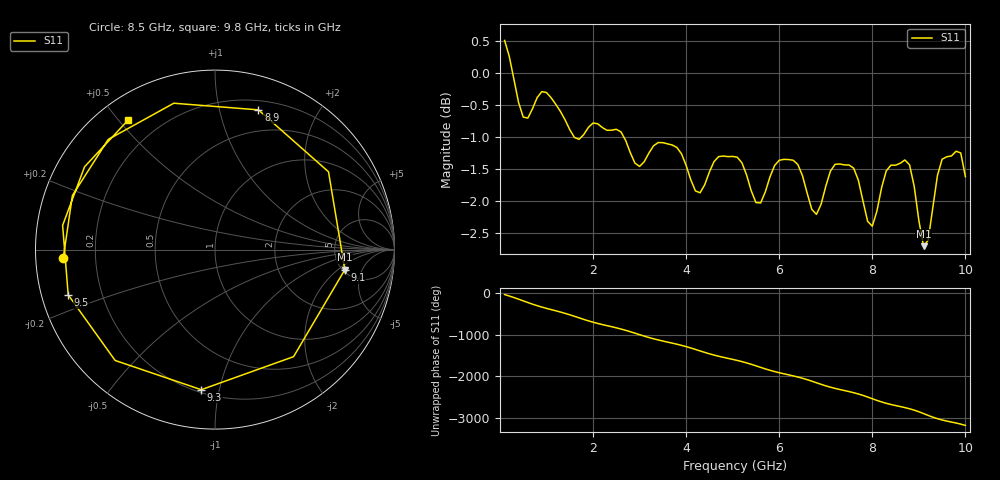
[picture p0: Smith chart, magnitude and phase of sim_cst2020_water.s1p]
! Created with skrf 1.12.0 (http://scikit-rf.org).
# Hz S RI R 50.0
!freq ReS11 ImS11
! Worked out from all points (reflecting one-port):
!   100 points, 100 MHz to 10 GHz, reference 50 ohm
!   lowest |S11| = -2.7 dB at 9.1 GHz (marker M1), VSWR 6.46, Z = 261 - j126 ohm
!   phase of S11 starts at -34 deg and turns -3140 deg over the sweep
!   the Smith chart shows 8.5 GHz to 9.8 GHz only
!   S11 on the Smith chart (normalised r, x): 8.5 GHz: 0.08, -0.03; 8.9 GHz: 0.28, +1.32; 9.1 GHz: 5.21, -2.52; 9.3 GHz: 0.22, -0.88; 9.5 GHz: 0.08, -0.15; 9.8 GHz: 0.09, +0.53
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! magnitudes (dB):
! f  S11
! 100 MHz  0.5
! 500 MHz  -0.7
! 900 MHz  -0.3
! 1.4 GHz  -0.7
! 1.7 GHz  -1.0
! 2.6 GHz  -0.9
! 3 GHz  -1.5
! 3.4 GHz  -1.1
! 3.9 GHz  -1.3
! 4.3 GHz  -1.9
! 4.7 GHz  -1.3
! 5.1 GHz  -1.3
! 5.6 GHz  -2.0
! 5.9 GHz  -1.5
! 6.3 GHz  -1.4
! 6.8 GHz  -2.2
! 7.2 GHz  -1.4
! 7.6 GHz  -1.5
! 8 GHz  -2.4
! 8.3 GHz  -1.5
! 8.5 GHz  -1.4
! 8.8 GHz  -1.4
! 8.9 GHz  -1.8
! 9.1 GHz  -2.7
! 9.3 GHz  -2.1
! 9.5 GHz  -1.4
! 9.8 GHz  -1.2
! 10 GHz  -1.6
